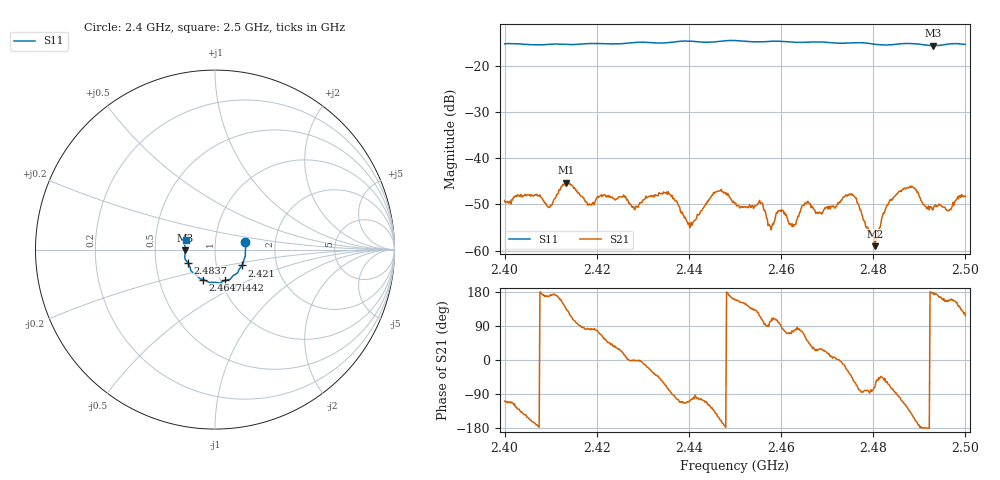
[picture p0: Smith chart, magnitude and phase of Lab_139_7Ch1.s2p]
# Hz S RI R 50
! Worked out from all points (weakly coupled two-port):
!   601 points, 2.4 GHz to 2.5 GHz, reference 50 ohm
!   highest |S21| = -45.28 dB at 2.4133 GHz (marker M1); lowest = -59.0 dB at 2.4803 GHz (marker M2)
!   lowest |S11| = -15.6 dB at 2.493 GHz (marker M3), VSWR 1.40, Z = 35.8 - j0.233 ohm
!   |S11| at or under -10 dB: start of sweep to end of sweep
!   S12 and S22 are empty: the file has one direction only
!   S11 on the Smith chart (normalised r, x): 2.4 GHz: 1.40, +0.12; 2.421 GHz: 1.33, -0.24; 2.4442 GHz: 1.05, -0.37; 2.4647 GHz: 0.83, -0.29; 2.4837 GHz: 0.73, -0.11; 2.5 GHz: 0.72, +0.08
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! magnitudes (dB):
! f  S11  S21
! 2.4 GHz  -15.2  -49.2
! 2.4098 GHz  -15.3  -50.6
! 2.4133 GHz  -15.3  -45.3
! 2.4167 GHz  -15.2  -48.2
! 2.421 GHz  -15.2  -47.9
! 2.4333 GHz  -15.1  -48.1
! 2.4403 GHz  -14.7  -54.9
! 2.4442 GHz  -14.9  -49.4
! 2.45 GHz  -14.5  -49.8
! 2.4555 GHz  -14.8  -49.8
! 2.4577 GHz  -14.7  -54.8
! 2.4598 GHz  -14.7  -51.2
! 2.4628 GHz  -14.9  -54.4
! 2.4647 GHz  -14.9  -50.2
! 2.4667 GHz  -14.8  -50.4
! 2.4753 GHz  -15.0  -47.7
! 2.4803 GHz  -15.3  -59.0
! 2.4833 GHz  -15.5  -49.7
! 2.4837 GHz  -15.4  -48.9
! 2.4883 GHz  -15.2  -46.1
! 2.493 GHz  -15.6  -51.1
! 2.5 GHz  -15.3  -48.3
